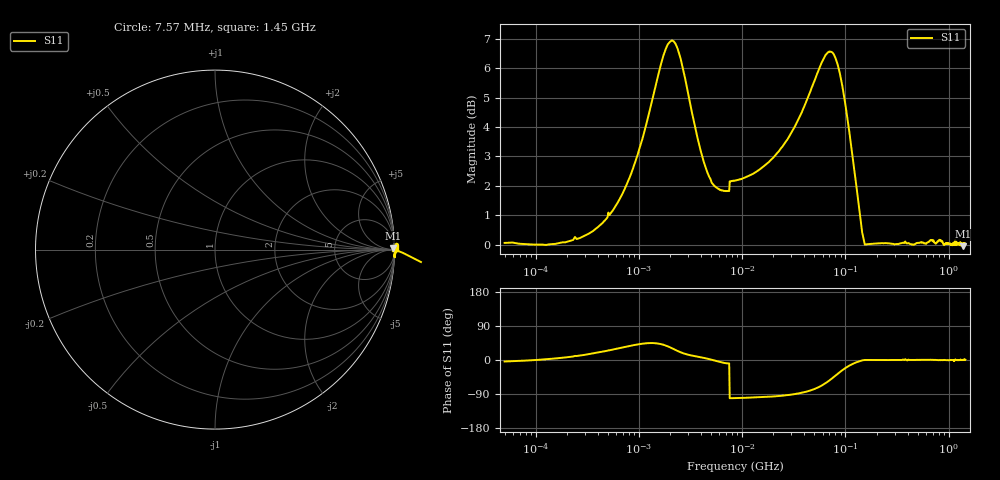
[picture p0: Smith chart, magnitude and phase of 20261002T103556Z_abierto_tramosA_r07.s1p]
! piloto_saltos / abierto_tramosA / r07
# HZ S RI R 50
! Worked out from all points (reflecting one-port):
!   501 points, 50 kHz to 1.45 GHz, reference 50 ohm
!   lowest |S11| = 0.0 dB at 1.369 GHz (marker M1), VSWR 359.62, Z = 6.85e+03 + j8.73e+03 ohm
!   phase of S11 starts at -4 deg and turns +5 deg over the sweep
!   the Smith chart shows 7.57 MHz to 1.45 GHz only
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50000  1.005 -0.0694
183000  1.004 0.1058
363500  1.008 0.318
658000  1.021 0.63
1180000  1.152 1.117
1630000  1.504 1.354
1990000  1.839 1.226
2440000  1.961 0.8003
3070000  1.722 0.4039
4420000  1.349 0.1083
7300000  1.219 -0.1914
7750000  -0.2408 -1.26
8560000  -0.235 -1.265
1.81e7  -0.1683 -1.372
3.16e7  -0.0115 -1.576
4.69e7  0.3391 -1.814
5.68e7  0.6968 -1.886
6.49e7  1.046 -1.827
7.48e7  1.428 -1.568
8.74e7  1.656 -1.063
9.82e7  1.627 -0.6742
1e8  1.611 -0.6218
1.18e8  1.376 -0.2443
1.36e8  1.147 -0.0692
1.63e8  1.002 0.00134
4.06e8  1.007 0.0187
1.369e9  0.9944 0.00705
1.45e9  1.002 0.0102
